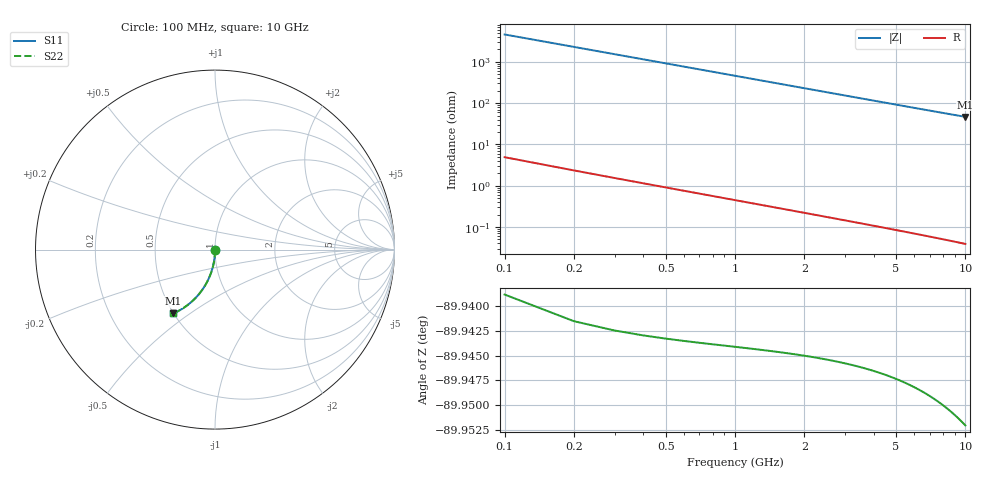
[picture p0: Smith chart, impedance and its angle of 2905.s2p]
# Hz S RI R 50.00
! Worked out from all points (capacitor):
!   100 points, 100 MHz to 10 GHz, reference 50 ohm
!   read as one part in shunt: C = 346 fF near 100 MHz
!   lowest |Z| = 46.6 ohm at 10 GHz (marker M1)
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1e8  0.000236 -0.00475  0.9997 -0.00611  0.9997 -0.00611  0.000236 -0.00475
2e8  0.000145 -0.00951  0.9996 -0.0122  0.9996 -0.0122  0.000145 -0.00951
3e8  -3.96e-06 -0.0143  0.9994 -0.0183  0.9994 -0.0183  -3.96e-06 -0.0143
4e8  -0.000211 -0.019  0.9992 -0.0244  0.9992 -0.0244  -0.000211 -0.019
5e8  -0.000477 -0.0238  0.9989 -0.0305  0.9989 -0.0305  -0.000477 -0.0238
6e8  -0.0008 -0.0285  0.9986 -0.0366  0.9986 -0.0366  -0.0008 -0.0285
7e8  -0.00118 -0.0332  0.9982 -0.0427  0.9982 -0.0427  -0.00118 -0.0332
8e8  -0.00162 -0.038  0.9978 -0.0488  0.9978 -0.0488  -0.00162 -0.038
9e8  -0.00212 -0.0427  0.9973 -0.0549  0.9973 -0.0549  -0.00212 -0.0427
1.1e9  -0.00328 -0.0521  0.996 -0.067  0.996 -0.067  -0.00328 -0.0521
1.4e9  -0.00546 -0.0662  0.9938 -0.0851  0.9938 -0.0851  -0.00546 -0.0662
1.8e9  -0.00916 -0.0848  0.99 -0.1092  0.99 -0.1092  -0.00916 -0.0848
2.1e9  -0.0125 -0.0985  0.9865 -0.127  0.9865 -0.127  -0.0125 -0.0985
2.5e9  -0.0177 -0.1167  0.9811 -0.1506  0.9811 -0.1506  -0.0177 -0.1167
2.9e9  -0.0238 -0.1345  0.9748 -0.1738  0.9748 -0.1738  -0.0238 -0.1345
3.4e9  -0.0326 -0.1562  0.9657 -0.2023  0.9657 -0.2023  -0.0326 -0.1562
4.2e9  -0.0491 -0.1894  0.9486 -0.2465  0.9486 -0.2465  -0.0491 -0.1894
5.1e9  -0.0711 -0.2243  0.9259 -0.2938  0.9259 -0.2938  -0.0711 -0.2243
5.9e9  -0.0933 -0.2527  0.9029 -0.3333  0.9029 -0.3333  -0.0933 -0.2527
6.7e9  -0.1176 -0.2786  0.8776 -0.3702  0.8776 -0.3702  -0.1176 -0.2786
8.4e9  -0.1744 -0.3243  0.8183 -0.4397  0.8183 -0.4397  -0.1744 -0.3243
1e10  -0.2319 -0.3557  0.7579 -0.4937  0.7579 -0.4937  -0.2319 -0.3557
